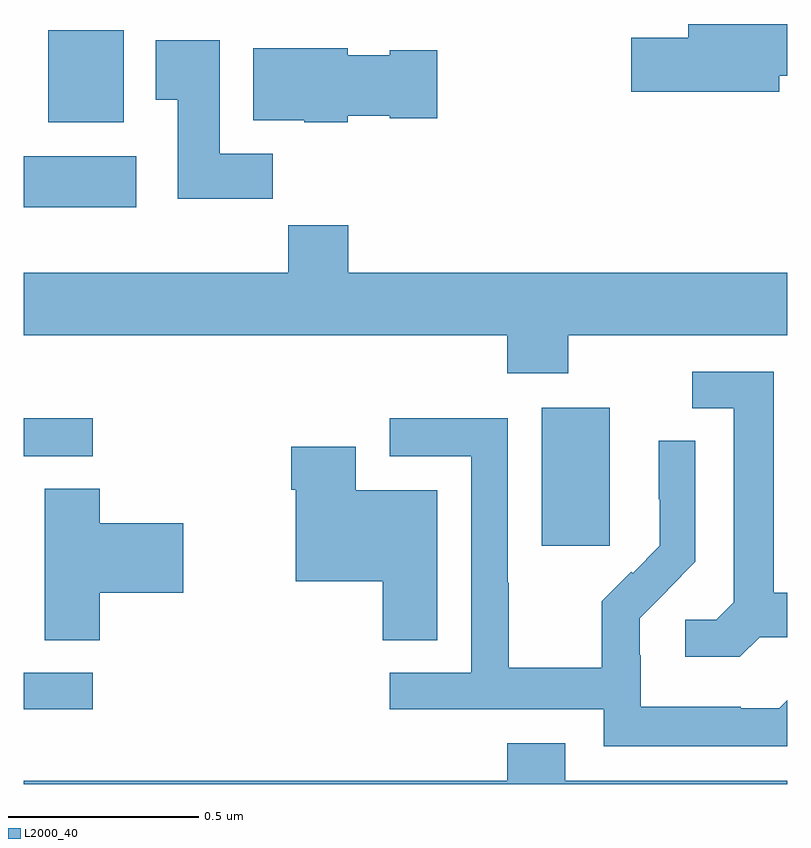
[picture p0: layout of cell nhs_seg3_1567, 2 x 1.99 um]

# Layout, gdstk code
import gdstk
lib = gdstk.Library(unit=1e-6, precision=1e-09)
def R(c, l, rs):  # rectangles x0, y0, x1, y1
    for r in rs: c.add(gdstk.rectangle(r[:2], r[2:], *l))
def P(c, l, *ps):  # polygons
    for p in ps: c.add(gdstk.Polygon(p, *l))
L2000_40 = (2000, 40)

nhs_seg3_1567 = lib.new_cell('nhs_seg3_1567')
R(nhs_seg3_1567, L2000_40, [(130,706.596,130.18,706.692), (131.357,707.025,131.536,707.386), (130,707.259,130.18,707.358), (130,707.912,130.294,708.046), (130.064,708.134,130.261,708.376)])
P(nhs_seg3_1567, L2000_40, [(131.98,708.256),(132,708.256),(132,708.392),(131.741,708.392),(131.741,708.356),(131.592,708.356),(131.592,708.214),(131.98,708.214)],
  [(130.652,708.052),(130.513,708.052),(130.513,708.349),(130.346,708.349),(130.346,708.193),(130.403,708.193),(130.403,707.934),(130.652,707.934)],
  [(130.848,708.152),(130.959,708.152),(130.959,708.145),(131.083,708.145),(131.083,708.323),(130.959,708.323),(130.959,708.31),(130.848,708.31),(130.848,708.328),(130.601,708.328),(130.601,708.14),(130.734,708.14),(130.734,708.134),(130.848,708.134)],
  [(131.427,707.576),(132,707.576),(132,707.74),(130.85,707.74),(130.85,707.864),(130.693,707.864),(130.693,707.74),(130,707.74),(130,707.576),(131.267,707.576),(131.267,707.477),(131.427,707.477)],
  [(131.928,706.785),(132,706.785),(132,706.901),(131.965,706.901),(131.965,707.481),(131.751,707.481),(131.751,707.385),(131.861,707.385),(131.861,706.877),(131.814,706.83),(131.733,706.83),(131.733,706.733),(131.876,706.733)],
  [(132,706.62),(131.979,706.599),(131.879,706.599),(131.879,706.603),(131.616,706.603),(131.616,706.737),(131.614,706.737),(131.614,706.834),(131.688,706.908),(131.687,706.909),(131.76,706.982),(131.76,707.3),(131.664,707.3),(131.664,707.146),(131.666,707.146),(131.666,707.024),(131.595,706.953),(131.592,706.956),(131.515,706.879),(131.515,706.705),(131.271,706.705),(131.271,706.928),(131.268,706.928),(131.268,707.358),(130.959,707.358),(130.959,707.259),(131.172,707.259),(131.172,706.692),(130.959,706.692),(130.959,706.596),(131.52,706.596),(131.52,706.499),(132,706.499)],
  [(131.083,707.17),(130.87,707.17),(130.87,707.284),(130.7,707.284),(130.7,707.171),(130.712,707.171),(130.712,706.931),(130.94,706.931),(130.94,706.777),(131.083,706.777)],
  [(130.199,706.901),(130.417,706.901),(130.417,707.084),(130.199,707.084),(130.199,707.174),(130.055,707.174),(130.055,706.777),(130.199,706.777)],
  [(132,706.408),(131.419,706.408),(131.419,706.507),(131.267,706.507),(131.267,706.408),(130,706.408),(130,706.4),(132,706.4)])

lib.write_gds('nhs_seg3_1567.gds')
